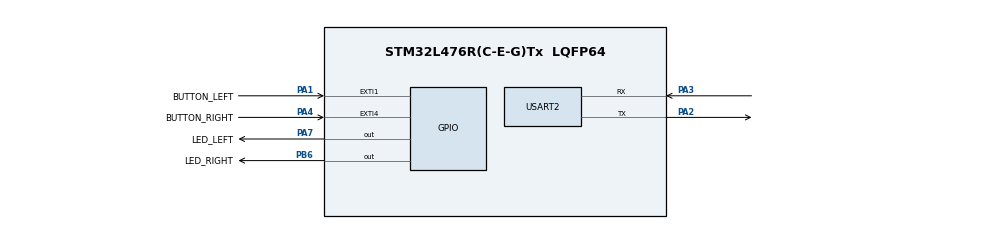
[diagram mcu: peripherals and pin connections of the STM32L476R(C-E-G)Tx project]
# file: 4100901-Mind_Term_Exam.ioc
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Mcu.Family=STM32L4
Mcu.Name=STM32L476R(C-E-G)Tx
Mcu.Package=LQFP64
NVIC.EXTI1_IRQn=true\:0\:0\:false\:false\:true\:true\:true\:true
NVIC.EXTI4_IRQn=true\:0\:0\:false\:false\:true\:true\:true\:true
NVIC.PriorityGroup=NVIC_PRIORITYGROUP_4
PA1.GPIO_Label=BUTTON_LEFT
PA1.Signal=GPXTI1
PA1.Stacked=true
PA2.Mode=Asynchronous
PA2.Signal=USART2_TX
PA3.Mode=Asynchronous
PA3.Signal=USART2_RX
PA4.GPIO_Label=BUTTON_RIGHT
PA4.Signal=GPXTI4
PA7.GPIO_Label=LED_LEFT
PA7.PinState=GPIO_PIN_SET
PA7.Signal=GPIO_Output
PB6.GPIO_Label=LED_RIGHT
PB6.PinState=GPIO_PIN_SET
PB6.Signal=GPIO_Output
ProjectManager.HeapSize=0x200
ProjectManager.StackSize=0x400
ProjectManager.TargetToolchain=STM32CubeIDE
RCC.HSE_VALUE=8000000
RCC.HSI_VALUE=16000000
RCC.LSE_VALUE=32768
RCC.MSI_VALUE=4000000
RCC.VCOOutputFreq_Value=32000000
USART2.VirtualMode-Asynchronous=VM_ASYNC
board=custom

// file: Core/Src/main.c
/* USER CODE BEGIN Header */
/**
  ******************************************************************************
  * @file           : main.c
  * @brief          : Main program body
  ******************************************************************************
  * @attention
  *
  * Copyright (c) 2024 STMicroelectronics.
  * All rights reserved.
  *
  * This software is licensed under terms that can be found in the LICENSE file
  * in the root directory of this software component.
  * If no LICENSE file comes with this software, it is provided AS-IS.
  *
  ******************************************************************************
  */
/* USER CODE END Header */
#include "main.h"

/* USER CODE BEGIN Includes */
uint8_t LEFT_Pressed = 0;
uint8_t Right_Pressed = 0;
uint8_t Right_cont = 0;
uint8_t LEFT_cont = 0;
static int TEMP = 0;
static int TEMP_1 = 0;
/* USER CODE END Includes */

/* USER CODE BEGIN PTD */

  /* NOTE: This function should not be modified, when the callback is needed,
           the HAL_GPIO_EXTI_Callback could be implemented in the user file
   */

/* USER CODE END PTD */

UART_HandleTypeDef huart2;

void SystemClock_Config(void);
static void MX_GPIO_Init(void);
static void MX_USART2_UART_Init(void);

/* USER CODE BEGIN 0 */
void HAL_GPIO_EXTI_Callback(uint16_t GPIO_Pin)
{
  /* Prevent unused argument(s) compilation warning */
  if(GPIO_Pin == BUTTON_LEFT_Pin){
	  HAL_UART_Transmit(&huart2, "Button_Left\r\n", 12, 10);
	  LEFT_Pressed = 1;
	  if(HAL_GetTick() - TEMP <= 500){
		  TEMP = HAL_GetTick();
		  LEFT_cont = LEFT_cont + 1;
	  }
  }
  if(GPIO_Pin == BUTTON_RIGHT_Pin){
	  HAL_UART_Transmit(&huart2, "BUTTON_RIGHT\r\n", 12, 10);
	  Right_Pressed = 1;
	  if(HAL_GetTick() - TEMP_1 <= 500){
		  TEMP_1 = HAL_GetTick();
		  Right_cont = Right_cont + 1;
	  	  }
    }
}
//* USER CODE END 0 */

int main(void)
{

  /* MCU Configuration--------------------------------------------------------*/

  /* Reset of all peripherals, Initializes the Flash interface and the Systick. */
  HAL_Init();

  /* Configure the system clock */
  SystemClock_Config();

  /* Initialize all configured peripherals */
  MX_GPIO_Init();
  MX_USART2_UART_Init();

  /* Infinite loop */
  /* USER CODE BEGIN WHILE */
  while (1)
  {
	 if (LEFT_Pressed !=0 ){
		 HAL_GPIO_WritePin(LED_RIGHT_GPIO_Port, LED_RIGHT_Pin, 1);
	  if (LEFT_cont >= 2){
		  for (uint32_t i = 0; i < 10000000000000000 ; i++){
		  		  HAL_GPIO_TogglePin(LED_LEFT_GPIO_Port, LED_LEFT_Pin);
		  		  HAL_Delay(250);
		  }
	  }
	  else{

		  for (uint8_t i = 0; i < 6; i++){
			  HAL_GPIO_TogglePin(LED_LEFT_GPIO_Port, LED_LEFT_Pin);
			  HAL_Delay(250);
		  }
	  }
	  LEFT_Pressed = 0;
	 }

  if (Right_Pressed !=0 ){
	  HAL_GPIO_WritePin(LED_LEFT_GPIO_Port, LED_LEFT_Pin, 1);
	  if (Right_cont >= 2){
	  		  for (uint32_t i = 0; i < 10000000000000000 ; i++){
	  		  		  HAL_GPIO_TogglePin(LED_RIGHT_GPIO_Port, LED_RIGHT_Pin);
	  		  		  HAL_Delay(250);
	  		  }
	  	  }
	  	  else{

	  		  for (uint8_t i = 0; i < 6; i++){
	  			  HAL_GPIO_TogglePin(LED_RIGHT_GPIO_Port, LED_RIGHT_Pin);
	  			  HAL_Delay(250);
	  		  }
	  	  }
	  	  Right_Pressed = 0;
  	  }
    /* USER CODE END WHILE */

  }
}

void SystemClock_Config(void)
{
  RCC_OscInitTypeDef RCC_OscInitStruct = {0};
  RCC_ClkInitTypeDef RCC_ClkInitStruct = {0};

  /** Configure the main internal regulator output voltage
  */
  if (HAL_PWREx_ControlVoltageScaling(PWR_REGULATOR_VOLTAGE_SCALE1) != HAL_OK)
  {
    Error_Handler();
  }

  /** Initializes the RCC Oscillators according to the specified parameters
  * in the RCC_OscInitTypeDef structure.
  */
  RCC_OscInitStruct.OscillatorType = RCC_OSCILLATORTYPE_MSI;
  RCC_OscInitStruct.MSIState = RCC_MSI_ON;
  RCC_OscInitStruct.MSICalibrationValue = 0;
  RCC_OscInitStruct.MSIClockRange = RCC_MSIRANGE_6;
  RCC_OscInitStruct.PLL.PLLState = RCC_PLL_NONE;
  if (HAL_RCC_OscConfig(&RCC_OscInitStruct) != HAL_OK)
  {
    Error_Handler();
  }

  /** Initializes the CPU, AHB and APB buses clocks
  */
  RCC_ClkInitStruct.ClockType = RCC_CLOCKTYPE_HCLK|RCC_CLOCKTYPE_SYSCLK
                              |RCC_CLOCKTYPE_PCLK1|RCC_CLOCKTYPE_PCLK2;
  RCC_ClkInitStruct.SYSCLKSource = RCC_SYSCLKSOURCE_MSI;
  RCC_ClkInitStruct.AHBCLKDivider = RCC_SYSCLK_DIV1;
  RCC_ClkInitStruct.APB1CLKDivider = RCC_HCLK_DIV1;
  RCC_ClkInitStruct.APB2CLKDivider = RCC_HCLK_DIV1;

  if (HAL_RCC_ClockConfig(&RCC_ClkInitStruct, FLASH_LATENCY_0) != HAL_OK)
  {
    Error_Handler();
  }
}

static void MX_USART2_UART_Init(void)
{

  huart2.Instance = USART2;
  huart2.Init.BaudRate = 115200;
  huart2.Init.WordLength = UART_WORDLENGTH_8B;
  huart2.Init.StopBits = UART_STOPBITS_1;
  huart2.Init.Parity = UART_PARITY_NONE;
  huart2.Init.Mode = UART_MODE_TX_RX;
  huart2.Init.HwFlowCtl = UART_HWCONTROL_NONE;
  huart2.Init.OverSampling = UART_OVERSAMPLING_16;
  huart2.Init.OneBitSampling = UART_ONE_BIT_SAMPLE_DISABLE;
  huart2.AdvancedInit.AdvFeatureInit = UART_ADVFEATURE_NO_INIT;
  if (HAL_UART_Init(&huart2) != HAL_OK)
  {
    Error_Handler();
  }

}

static void MX_GPIO_Init(void)
{
  GPIO_InitTypeDef GPIO_InitStruct = {0};

  /* GPIO Ports Clock Enable */
  __HAL_RCC_GPIOA_CLK_ENABLE();
  __HAL_RCC_GPIOB_CLK_ENABLE();

  /*Configure GPIO pin Output Level */
  HAL_GPIO_WritePin(LED_LEFT_GPIO_Port, LED_LEFT_Pin, GPIO_PIN_SET);

  /*Configure GPIO pin Output Level */
  HAL_GPIO_WritePin(LED_RIGHT_GPIO_Port, LED_RIGHT_Pin, GPIO_PIN_SET);

  /*Configure GPIO pins : BUTTON_LEFT_Pin BUTTON_RIGHT_Pin */
  GPIO_InitStruct.Pin = BUTTON_LEFT_Pin|BUTTON_RIGHT_Pin;
  GPIO_InitStruct.Mode = GPIO_MODE_IT_RISING;
  GPIO_InitStruct.Pull = GPIO_NOPULL;
  HAL_GPIO_Init(GPIOA, &GPIO_InitStruct);

  /*Configure GPIO pin : LED_LEFT_Pin */
  GPIO_InitStruct.Pin = LED_LEFT_Pin;
  GPIO_InitStruct.Mode = GPIO_MODE_OUTPUT_PP;
  GPIO_InitStruct.Pull = GPIO_NOPULL;
  GPIO_InitStruct.Speed = GPIO_SPEED_FREQ_LOW;
  HAL_GPIO_Init(LED_LEFT_GPIO_Port, &GPIO_InitStruct);

  /*Configure GPIO pin : LED_RIGHT_Pin */
  GPIO_InitStruct.Pin = LED_RIGHT_Pin;
  GPIO_InitStruct.Mode = GPIO_MODE_OUTPUT_PP;
  GPIO_InitStruct.Pull = GPIO_NOPULL;
  GPIO_InitStruct.Speed = GPIO_SPEED_FREQ_LOW;
  HAL_GPIO_Init(LED_RIGHT_GPIO_Port, &GPIO_InitStruct);

  /* EXTI interrupt init*/
  HAL_NVIC_SetPriority(EXTI1_IRQn, 0, 0);
  HAL_NVIC_EnableIRQ(EXTI1_IRQn);

  HAL_NVIC_SetPriority(EXTI4_IRQn, 0, 0);
  HAL_NVIC_EnableIRQ(EXTI4_IRQn);

}

void Error_Handler(void)
{
  __disable_irq();
  while (1)
  {
  }
}
